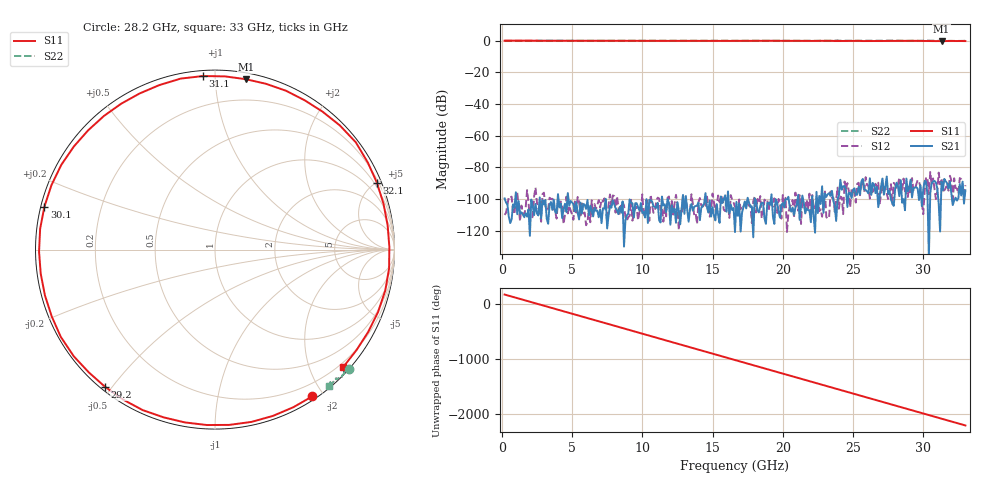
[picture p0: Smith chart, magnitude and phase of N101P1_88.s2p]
# GHZ S RI R 50
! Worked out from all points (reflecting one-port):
!   329 points, 200 MHz to 33 GHz, reference 50 ohm
!   lowest |S11| = -0.3 dB at 31.3 GHz (marker M1), VSWR 55.83, Z = 2.18 + j59.8 ohm
!   phase of S11 starts at 165 deg and turns -2368 deg over the sweep
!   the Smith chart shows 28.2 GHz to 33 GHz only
!   S11 on the Smith chart (normalised r, x): 28.2 GHz: 0.04, -1.86; 29.2 GHz: 0.01, -0.48; 30.1 GHz: 0.01, +0.12; 31.1 GHz: 0.03, +0.93; 32.1 GHz: 0.32, +5.02; 33 GHz: 0.12, -2.57
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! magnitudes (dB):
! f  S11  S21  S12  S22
! 200 MHz  0.0  -99.7  -110.2  0.0
! 5.7 GHz  -0.1  -109.1  -101.5  0.0
! 11.2 GHz  -0.2  -113.6  -99.8  0.0
! 16.6 GHz  -0.2  -120.9  -105.0  -0.1
! 19.5 GHz  -0.1  -100.1  -109.2  0.0
! 22.1 GHz  -0.2  -98.2  -97.6  -0.1
! 22.9 GHz  -0.1  -108.8  -101.6  0.0
! 23.3 GHz  -0.1  -96.4  -112.0  -0.1
! 23.9 GHz  -0.2  -100.1  -92.9  0.1
! 24.1 GHz  -0.2  -87.9  -98.5  -0.1
! 24.7 GHz  -0.2  -96.3  -94.8  -0.1
! 25 GHz  -0.1  -94.3  -95.2  -0.1
! 25.6 GHz  -0.3  -88.9  -89.8  -0.1
! 27.6 GHz  -0.2  -95.1  -94.8  0.0
! 28.2 GHz  -0.2  -92.0  -90.8  0.0
! 29.2 GHz  -0.2  -99.1  -86.9  -0.1
! 30.1 GHz  -0.2  -88.6  -95.1  0.0
! 31.1 GHz  -0.3  -103.0  -83.4  -0.1
! 31.3 GHz  -0.3  -89.1  -87.0  -0.1
! 31.9 GHz  -0.1  -89.1  -85.4  -0.1
! 32.1 GHz  -0.2  -103.9  -103.3  -0.2
! 33 GHz  -0.3  -94.6  -91.4  -0.1
